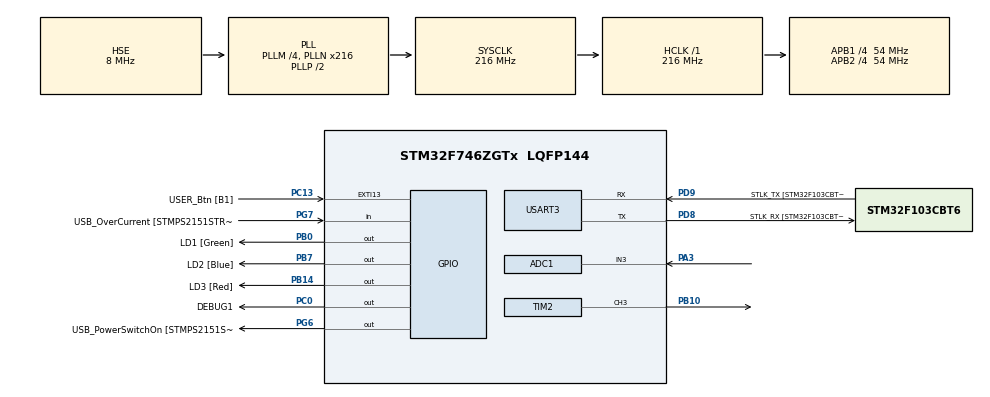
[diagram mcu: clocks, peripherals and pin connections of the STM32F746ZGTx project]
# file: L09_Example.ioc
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ADC1.Channel-0\#ChannelRegularConversion=ADC_CHANNEL_3
ADC1.NbrOfConversionFlag=1
ADC1.Rank-0\#ChannelRegularConversion=1
ADC1.SamplingTime-0\#ChannelRegularConversion=ADC_SAMPLETIME_480CYCLES
ADC1.master=1
Dma.Request0=USART3_TX
Dma.USART3_TX.0.Direction=DMA_MEMORY_TO_PERIPH
Dma.USART3_TX.0.FIFOMode=DMA_FIFOMODE_DISABLE
Dma.USART3_TX.0.Instance=DMA1_Stream3
Dma.USART3_TX.0.MemDataAlignment=DMA_MDATAALIGN_BYTE
Dma.USART3_TX.0.MemInc=DMA_MINC_ENABLE
Dma.USART3_TX.0.Mode=DMA_NORMAL
Dma.USART3_TX.0.PeriphDataAlignment=DMA_PDATAALIGN_BYTE
Dma.USART3_TX.0.PeriphInc=DMA_PINC_DISABLE
Dma.USART3_TX.0.Priority=DMA_PRIORITY_LOW
Mcu.Family=STM32F7
Mcu.Name=STM32F746ZGTx
Mcu.Package=LQFP144
NVIC.ADC_IRQn=true\:0\:0\:false\:false\:true\:true\:true\:true
NVIC.DMA1_Stream3_IRQn=true\:0\:0\:false\:false\:true\:false\:true\:true
NVIC.PriorityGroup=NVIC_PRIORITYGROUP_4
NVIC.TIM2_IRQn=true\:0\:0\:false\:false\:true\:true\:true\:true
NVIC.USART3_IRQn=true\:0\:0\:false\:false\:true\:true\:true\:true
PA1.GPIO_Label=RMII_REF_CLK [LAN8742A-CZ-TR_REFCLK0]
PA1.Signal=ETH_REF_CLK
PA10.GPIO_Label=USB_ID
PA10.Signal=USB_OTG_FS_ID
PA11.GPIO_Label=USB_DM
PA11.Signal=USB_OTG_FS_DM
PA12.GPIO_Label=USB_DP
PA12.Signal=USB_OTG_FS_DP
PA13.GPIO_Label=TMS
PA13.Mode=Serial_Wire
PA13.Signal=SYS_JTMS-SWDIO
PA14.GPIO_Label=TCK
PA14.Mode=Serial_Wire
PA14.Signal=SYS_JTCK-SWCLK
PA2.GPIO_Label=RMII_MDIO [LAN8742A-CZ-TR_MDIO]
PA2.Signal=ETH_MDIO
PA3.Signal=ADCx_IN3
PA7.GPIO_Label=RMII_CRS_DV [LAN8742A-CZ-TR_CRS_DV]
PA7.Signal=ETH_CRS_DV
PA8.GPIO_Label=USB_SOF [TP1]
PA8.Signal=USB_OTG_FS_SOF
PA9.GPIO_Label=USB_VBUS
PA9.Signal=USB_OTG_FS_VBUS
PB0.GPIO_Label=LD1 [Green]
PB0.Signal=GPIO_Output
PB10.Signal=S_TIM2_CH3
PB13.GPIO_Label=RMII_TXD1 [LAN8742A-CZ-TR_TXD1]
PB13.Signal=ETH_TXD1
PB14.GPIO_Label=LD3 [Red]
PB14.Signal=GPIO_Output
PB3.GPIO_Label=SW0
PB3.Signal=SYS_JTDO-SWO
PB7.GPIO_Label=LD2 [Blue]
PB7.Signal=GPIO_Output
PC0.GPIO_Label=DEBUG1
PC0.GPIO_Speed=GPIO_SPEED_FREQ_VERY_HIGH
PC0.Signal=GPIO_Output
PC1.GPIO_Label=RMII_MDC [LAN8742A-CZ-TR_MDC]
PC1.Signal=ETH_MDC
PC13.GPIO_Label=USER_Btn [B1]
PC13.Signal=GPXTI13
PC14/OSC32_IN.Mode=LSE-External-Oscillator
PC14/OSC32_IN.Signal=RCC_OSC32_IN
PC15/OSC32_OUT.Mode=LSE-External-Oscillator
PC15/OSC32_OUT.Signal=RCC_OSC32_OUT
PC4.GPIO_Label=RMII_RXD0 [LAN8742A-CZ-TR_RXD0]
PC4.Signal=ETH_RXD0
PC5.GPIO_Label=RMII_RXD1 [LAN8742A-CZ-TR_RXD1]
PC5.Signal=ETH_RXD1
PD8.GPIO_Label=STLK_RX [STM32F103CBT6_PA3]
PD8.GPIO_PuPd=GPIO_PULLUP
PD8.Mode=Asynchronous
PD8.Signal=USART3_TX
PD9.GPIO_Label=STLK_TX [STM32F103CBT6_PA2]
PD9.GPIO_PuPd=GPIO_PULLUP
PD9.Mode=Asynchronous
PD9.Signal=USART3_RX
PG11.GPIO_Label=RMII_TX_EN [LAN8742A-CZ-TR_TXEN]
PG11.Signal=ETH_TX_EN
PG13.GPIO_Label=RMII_TXD0 [LAN8742A-CZ-TR_TXD0]
PG13.Signal=ETH_TXD0
PG6.GPIO_Label=USB_PowerSwitchOn [STMPS2151STR_EN]
PG6.Signal=GPIO_Output
PG7.GPIO_Label=USB_OverCurrent [STMPS2151STR_FAULT]
PG7.Signal=GPIO_Input
PH0/OSC_IN.GPIO_Label=MCO [STM32F103CBT6_PA8]
PH0/OSC_IN.Mode=HSE-External-Clock-Source
PH0/OSC_IN.Signal=RCC_OSC_IN
PH1/OSC_OUT.Mode=HSE-External-Clock-Source
PH1/OSC_OUT.Signal=RCC_OSC_OUT
ProjectManager.HeapSize=0x200
ProjectManager.StackSize=0x400
ProjectManager.TargetToolchain=STM32CubeIDE
RCC.48MHZClocksFreq_Value=24000000
RCC.AHBFreq_Value=216000000
RCC.APB1CLKDivider=RCC_HCLK_DIV4
RCC.APB1Freq_Value=54000000
RCC.APB1TimFreq_Value=108000000
RCC.APB2CLKDivider=RCC_HCLK_DIV4
RCC.APB2Freq_Value=54000000
RCC.APB2TimFreq_Value=108000000
RCC.CortexFreq_Value=216000000
RCC.HCLKFreq_Value=216000000
RCC.HSE_VALUE=8000000
RCC.HSI_VALUE=16000000
RCC.PLLM=4
RCC.PLLMUL=RCC_PLL_MUL9
RCC.PLLN=216
RCC.PLLQ=3
RCC.PLLSourceVirtual=RCC_PLLSOURCE_HSE
RCC.PRESCALERUSB=RCC_USBCLKSOURCE_PLL_DIV1_5
RCC.SYSCLKFreq_VALUE=216000000
RCC.SYSCLKSource=RCC_SYSCLKSOURCE_PLLCLK
RCC.SYSCLKSourceVirtual=RCC_SYSCLKSOURCE_PLLCLK
RCC.USBFreq_Value=144000000
RCC.VCOOutputFreq_Value=432000000
SH.ADCx_IN3.0=ADC1_IN3,IN3
SH.S_TIM2_CH3.0=TIM2_CH3,PWM Generation3 CH3
TIM2.Channel-PWM\ Generation3\ CH3=TIM_CHANNEL_3
TIM2.OCPolarity_3=TIM_OCPOLARITY_LOW
TIM2.Period=1000-1
TIM2.Prescaler=(108/9)-1
TIM2.Pulse-PWM\ Generation3\ CH3=500
USART3.VirtualMode-Asynchronous=VM_ASYNC
board=NUCLEO-F746ZG

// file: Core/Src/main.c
/* USER CODE BEGIN Header */
/**
  ******************************************************************************
  * @file           : main.c
  * @brief          : Main program body
  ******************************************************************************
  * @attention
  *
  * <h2><center>&copy; Copyright (c) 2021 STMicroelectronics.
  * All rights reserved.</center></h2>
  *
  * This software component is licensed by ST under BSD 3-Clause license,
  * the "License"; You may not use this file except in compliance with the
  * License. You may obtain a copy of the License at:
  *                        opensource.org/licenses/BSD-3-Clause
  *
  ******************************************************************************
  */
/* USER CODE END Header */
#include "main.h"
#include "adc.h"
#include "dma.h"
#include "tim.h"
#include "usart.h"
#include "gpio.h"

/* USER CODE BEGIN Includes */
#include <stdio.h>
#include <string.h>
#include "pid_controller_config.h"
#include "led_config.h"
#include "aio.h"
/* USER CODE END Includes */

/* USER CODE BEGIN PTD */
typedef struct {
  float measurement;
  float reference;
  float control;
} SWV_TypeDef;
/* USER CODE END PTD */

/* USER CODE BEGIN PD */
#define CLOSED_LOOP
#define CNT_MAX 900
/* USER CODE END PD */

/* USER CODE BEGIN PV */
uint8_t rx_buffer[32];
uint16_t msg_len;

float duty = 50.0f;              // [%]
float current = 0.0f;            // [mA]
float current_ref = 0.0f;        // [mA]
const float resistance = 100.0f; // [Ohm]
uint32_t cnt = 0;
const uint32_t cnt_dec = 10;
SWV_TypeDef swv;

#ifdef CNT_MAX
uint8_t txBuffer[2][CNT_MAX * sizeof(swv)];
_Bool txActiveBuffer = 0;
_Bool txFlag = 0;
#endif
/* USER CODE END PV */

void SystemClock_Config(void);

/* USER CODE BEGIN 0 */
/**
  * @brief  Rx Transfer completed callback.
  * @param  huart UART handle.
  * @retval None
  */
void HAL_UART_RxCpltCallback(UART_HandleTypeDef *huart)
{
  if(huart == &huart3)
  {
    if(rx_buffer[0] == 'R')
    {
#ifdef CLOSED_LOOP
      sscanf((char*)&rx_buffer[1], "%f", &current_ref);

#else
      sscanf((char*)&rx_buffer[1], "%f", &duty);
      LED_PWM_WriteDuty(&hld1, duty);
#endif
#ifdef CNT_MAX
      txFlag = 1;
#endif
    }
    else
    {
      uint8_t tx_buffer[256];
      int resp_len = sprintf((char*)tx_buffer, "{ \"I1\":{\"value\":%f,\"unit\":\"mA\"}, \"I1REF\":{\"value\":%f,\"unit\":\"mA\"}, \"D1\":{\"value\":%f,\"unit\":\"%%\"} }\r", current, current_ref, duty);
      HAL_UART_Transmit_DMA(&huart3, tx_buffer, resp_len);
    }
    HAL_UART_Receive_IT(&huart3, rx_buffer, msg_len);
  }
}

/**
  * @brief  Period elapsed callback in non-blocking mode
  * @param  htim TIM handle
  * @retval None
  */
void HAL_TIM_PeriodElapsedCallback(TIM_HandleTypeDef *htim)
{
  if(htim == hld1.Output.Timer)
  {
    HAL_GPIO_WritePin(DEBUG1_GPIO_Port, DEBUG1_Pin, GPIO_PIN_SET);
    HAL_ADC_Start_IT(&hadc1);
  }
}

/**
  * @brief  Regular conversion complete callback in non blocking mode
  * @param  hadc pointer to a ADC_HandleTypeDef structure that contains
  *         the configuration information for the specified ADC.
  * @retval None
  */
void HAL_ADC_ConvCpltCallback(ADC_HandleTypeDef* hadc)
{
  if(hadc == &hadc1)
  {
    float voltage = ADC_REG2VOLTAGE(HAL_ADC_GetValue(hadc)); // [mV]
    // Ohm's law
    current = voltage / resistance;                          // [mA]

#ifdef CLOSED_LOOP
    duty = PID_GetOutput(&hpid1, current_ref, current);  // [%]
    LED_PWM_WriteDuty(&hld1, duty);
#endif

    HAL_GPIO_WritePin(DEBUG1_GPIO_Port, DEBUG1_Pin, GPIO_PIN_RESET);

    if(cnt % cnt_dec == 0)
    {
      swv.measurement = current;
      swv.reference = current_ref;
      swv.control = duty;

#ifdef CNT_MAX
      memcpy(&txBuffer[txActiveBuffer][(cnt / cnt_dec) * sizeof(swv)], &swv, sizeof(swv));
#endif
    }

#ifdef CNT_MAX
      cnt = (cnt < cnt_dec * CNT_MAX - 1) ? (cnt + 1) : 0;
#else
      cnt++;
#endif

#ifdef CNT_MAX
    if(cnt == 0 && txFlag)
    {
      HAL_UART_Transmit_DMA(&huart3, txBuffer[txActiveBuffer], CNT_MAX*sizeof(swv));
      txActiveBuffer ^= 1;
    }
#endif

  }
}

/* USER CODE END 0 */

int main(void)
{

  /* MCU Configuration--------------------------------------------------------*/

  /* Reset of all peripherals, Initializes the Flash interface and the Systick. */
  HAL_Init();

  /* Configure the system clock */
  SystemClock_Config();

  /* Initialize all configured peripherals */
  MX_GPIO_Init();
  MX_DMA_Init();
  MX_USART3_UART_Init();
  MX_TIM2_Init();
  MX_ADC1_Init();
  /* USER CODE BEGIN 2 */
  PID_Init(&hpid1);
  LED_PWM_Init(&hld1);
  HAL_TIM_Base_Start_IT(hld1.Output.Timer);

#ifdef CLOSED_LOOP
  msg_len = strlen("R00.0mA\r");
#else
  msg_len = strlen("R000.0%\r");
#endif

  HAL_UART_Receive_IT(&huart3, rx_buffer, msg_len);
  /* USER CODE END 2 */

  /* Infinite loop */
  while (1)
  {

  }
}

void SystemClock_Config(void)
{
  RCC_OscInitTypeDef RCC_OscInitStruct = {0};
  RCC_ClkInitTypeDef RCC_ClkInitStruct = {0};

  /** Configure LSE Drive Capability
  */
  HAL_PWR_EnableBkUpAccess();

  /** Configure the main internal regulator output voltage
  */
  __HAL_RCC_PWR_CLK_ENABLE();
  __HAL_PWR_VOLTAGESCALING_CONFIG(PWR_REGULATOR_VOLTAGE_SCALE1);

  /** Initializes the RCC Oscillators according to the specified parameters
  * in the RCC_OscInitTypeDef structure.
  */
  RCC_OscInitStruct.OscillatorType = RCC_OSCILLATORTYPE_HSE;
  RCC_OscInitStruct.HSEState = RCC_HSE_BYPASS;
  RCC_OscInitStruct.PLL.PLLState = RCC_PLL_ON;
  RCC_OscInitStruct.PLL.PLLSource = RCC_PLLSOURCE_HSE;
  RCC_OscInitStruct.PLL.PLLM = 4;
  RCC_OscInitStruct.PLL.PLLN = 216;
  RCC_OscInitStruct.PLL.PLLP = RCC_PLLP_DIV2;
  RCC_OscInitStruct.PLL.PLLQ = 3;
  if (HAL_RCC_OscConfig(&RCC_OscInitStruct) != HAL_OK)
  {
    Error_Handler();
  }

  /** Activate the Over-Drive mode
  */
  if (HAL_PWREx_EnableOverDrive() != HAL_OK)
  {
    Error_Handler();
  }

  /** Initializes the CPU, AHB and APB buses clocks
  */
  RCC_ClkInitStruct.ClockType = RCC_CLOCKTYPE_HCLK|RCC_CLOCKTYPE_SYSCLK
                              |RCC_CLOCKTYPE_PCLK1|RCC_CLOCKTYPE_PCLK2;
  RCC_ClkInitStruct.SYSCLKSource = RCC_SYSCLKSOURCE_PLLCLK;
  RCC_ClkInitStruct.AHBCLKDivider = RCC_SYSCLK_DIV1;
  RCC_ClkInitStruct.APB1CLKDivider = RCC_HCLK_DIV4;
  RCC_ClkInitStruct.APB2CLKDivider = RCC_HCLK_DIV4;

  if (HAL_RCC_ClockConfig(&RCC_ClkInitStruct, FLASH_LATENCY_7) != HAL_OK)
  {
    Error_Handler();
  }
}

void Error_Handler(void)
{
  __disable_irq();
  while (1)
  {
  }
}
